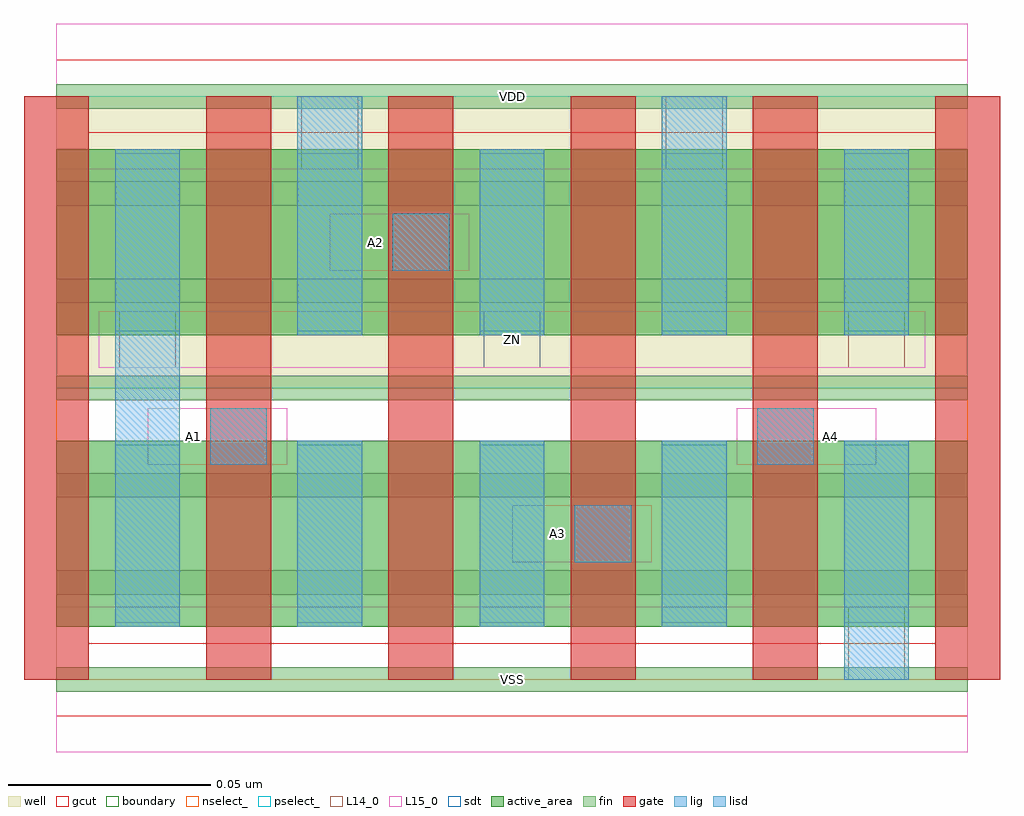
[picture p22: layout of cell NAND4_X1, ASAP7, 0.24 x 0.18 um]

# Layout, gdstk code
import gdstk
lib = gdstk.Library(unit=1e-6, precision=2.5e-10)
def R(c, l, rs):  # rectangles x0, y0, x1, y1
    for r in rs: c.add(gdstk.rectangle(r[:2], r[2:], *l))
def A(c, l, x, y, w, h, nx, ny, dx, dy):  # array of equal rectangles
    R(c, l, [(x+i*dx, y+j*dy, x+i*dx+w, y+j*dy+h) for i in range(nx) for j in range(ny)])
def P(c, l, *ps):  # polygons
    for p in ps: c.add(gdstk.Polygon(p, *l))
well = (1, 0)
fin = (2, 0)
gate = (7, 0)
gcut = (10, 0)
active_area = (11, 0)
nselect_ = (12, 0)
pselect_ = (13, 0)
L14_0 = (14, 0)
L15_0 = (15, 0)
lig = (16, 0)
lisd = (17, 0)
sdt = (88, 0)
boundary = (100, 0)

nand4_x1 = lib.new_cell('NAND4_X1')
R(nand4_x1, well, [(0,0.072,0.225,0.144)])
A(nand4_x1, fin, 0, -0.003, 0.225, 0.006, 1, 7, 0, 0.024)
A(nand4_x1, gate, -0.008, 0, 0.016, 0.144, 6, 1, 0.045, 0)
P(nand4_x1, gcut, [(0,-0.009),(0,0),(-0.008,0),(-0.008,0.135),(0.008,0.135),(0.008,0.009),(0.217,0.009),(0.217,0.135),(-0.008,0.135),(-0.008,0.144),(0,0.144),(0,0.153),(0.225,0.153),(0.225,0.144),(0.233,0.144),(0.233,0),(0.225,0),(0.225,-0.009)])
R(nand4_x1, active_area, [(0,0.013,0.225,0.059), (0,0.085,0.225,0.131)])
R(nand4_x1, nselect_, [(0,0,0.225,0.072)])
R(nand4_x1, pselect_, [(0,0.072,0.225,0.144)])
A(nand4_x1, L14_0, 0.0155, 0.077, 0.014, 0.014, 3, 1, 0.09, 0)
R(nand4_x1, L14_0, [(0.1955,0,0.2095,0.018), (0.128,0.029,0.142,0.043), (0.038,0.053,0.052,0.067), (0.173,0.053,0.187,0.067), (0.083,0.101,0.097,0.115), (0.0605,0.126,0.0745,0.144), (0.1505,0.126,0.1645,0.144)])
R(nand4_x1, L15_0, [(0,-0.018,0.225,0.018), (0.1125,0.029,0.147,0.043), (0.0225,0.053,0.057,0.067), (0.168,0.053,0.2025,0.067), (0.0105,0.077,0.2145,0.091), (0.0675,0.101,0.102,0.115), (0,0.126,0.225,0.162)])
R(nand4_x1, lig, [(0.128,0.029,0.142,0.043), (0.038,0.053,0.052,0.067), (0.173,0.053,0.187,0.067), (0.083,0.101,0.097,0.115)])
A(nand4_x1, lisd, 0.0595, 0.013, 0.016, 0.046, 3, 1, 0.045, 0)
R(nand4_x1, lisd, [(0.1945,0,0.2105,0.059), (0.0145,0.013,0.0305,0.131), (0.0595,0.085,0.0755,0.144), (0.1045,0.085,0.1205,0.131), (0.1495,0.085,0.1655,0.144), (0.1945,0.085,0.2105,0.131)])
A(nand4_x1, sdt, 0.0145, 0.014, 0.016, 0.044, 5, 2, 0.045, 0.072)
R(nand4_x1, boundary, [(0,0,0.225,0.144)])
nand4_x1.add(gdstk.Label('A1', (0.0338,0.06), layer=15, texttype=251))
nand4_x1.add(gdstk.Label('VSS', (0.1125,0), layer=15, texttype=251))
nand4_x1.add(gdstk.Label('VDD', (0.1125,0.144), layer=15, texttype=251))
nand4_x1.add(gdstk.Label('A2', (0.0788,0.108), layer=15, texttype=251))
nand4_x1.add(gdstk.Label('VSS', (0.1125,0), layer=15, texttype=251))
nand4_x1.add(gdstk.Label('VDD', (0.1125,0.144), layer=15, texttype=251))
nand4_x1.add(gdstk.Label('A3', (0.1238,0.036), layer=15, texttype=251))
nand4_x1.add(gdstk.Label('VSS', (0.1125,0), layer=15, texttype=251))
nand4_x1.add(gdstk.Label('VDD', (0.1125,0.144), layer=15, texttype=251))
nand4_x1.add(gdstk.Label('A4', (0.1913,0.06), layer=15, texttype=251))
nand4_x1.add(gdstk.Label('VSS', (0.1125,0), layer=15, texttype=251))
nand4_x1.add(gdstk.Label('VDD', (0.1125,0.144), layer=15, texttype=251))
nand4_x1.add(gdstk.Label('ZN', (0.1125,0.084), layer=15, texttype=251))
nand4_x1.add(gdstk.Label('VSS', (0.1125,0), layer=15, texttype=251))
nand4_x1.add(gdstk.Label('VDD', (0.1125,0.144), layer=15, texttype=251))
nand4_x1.add(gdstk.Label('VSS', (0.1125,0), layer=3, texttype=251))
nand4_x1.add(gdstk.Label('VSS', (0.1125,0), layer=3, texttype=251))
nand4_x1.add(gdstk.Label('VSS', (0.1125,0), layer=3, texttype=251))
nand4_x1.add(gdstk.Label('VSS', (0.1125,0), layer=3, texttype=251))
nand4_x1.add(gdstk.Label('VSS', (0.1125,0), layer=3, texttype=251))
nand4_x1.add(gdstk.Label('VDD', (0.1125,0.144), layer=1, texttype=251))
nand4_x1.add(gdstk.Label('VDD', (0.1125,0.144), layer=1, texttype=251))
nand4_x1.add(gdstk.Label('VDD', (0.1125,0.144), layer=1, texttype=251))
nand4_x1.add(gdstk.Label('VDD', (0.1125,0.144), layer=1, texttype=251))
nand4_x1.add(gdstk.Label('VDD', (0.1125,0.144), layer=1, texttype=251))

lib.write_gds('NAND4_X1.gds')
